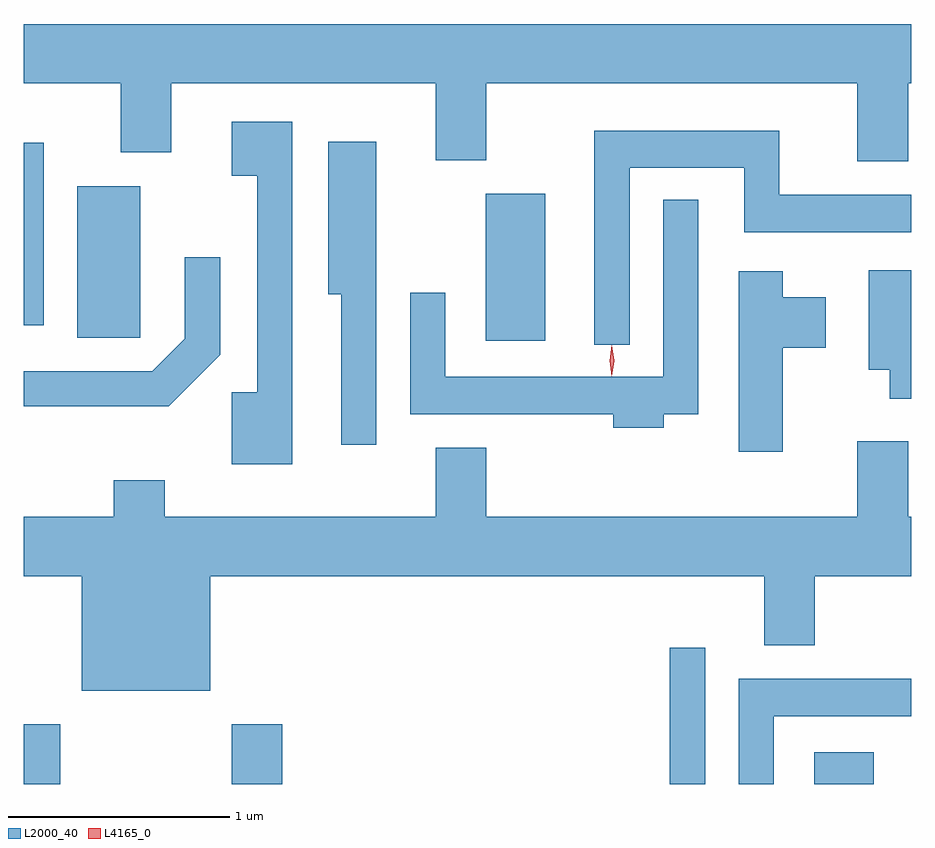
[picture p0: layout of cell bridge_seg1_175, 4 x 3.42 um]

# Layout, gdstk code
import gdstk
lib = gdstk.Library(unit=1e-6, precision=1e-09)
def R(c, l, rs):  # rectangles x0, y0, x1, y1
    for r in rs: c.add(gdstk.rectangle(r[:2], r[2:], *l))
def P(c, l, *ps):  # polygons
    for p in ps: c.add(gdstk.Polygon(p, *l))
L2000_40 = (2000, 40)
L4165_0 = (4165, 0)

bridge_seg1_175 = lib.new_cell('bridge_seg1_175')
R(bridge_seg1_175, L2000_40, [(795.934,960.8,796.099,961.069), (796.871,960.8,797.099,961.069), (798.846,960.8,799.004,961.413), (799.496,960.8,799.764,960.944), (798.016,962.796,798.284,963.459), (796.176,962.811,796.459,963.494), (795.934,962.866,796.024,963.689)])
P(bridge_seg1_175, L2000_40, [(799.919,963.956),(799.934,963.956),(799.934,964.224),(795.934,964.224),(795.934,963.956),(796.371,963.956),(796.371,963.646),(796.599,963.646),(796.599,963.956),(797.791,963.956),(797.791,963.611),(798.019,963.611),(798.019,963.956),(799.691,963.956),(799.691,963.606),(799.919,963.606)],
  [(797.144,963.784),(796.871,963.784),(796.871,963.541),(796.986,963.541),(796.986,962.564),(796.871,962.564),(796.871,962.241),(797.144,962.241)],
  [(798.664,963.576),(799.181,963.576),(799.181,963.286),(799.934,963.286),(799.934,963.454),(799.339,963.454),(799.339,963.744),(798.506,963.744),(798.506,962.778),(798.664,962.778)],
  [(797.524,963.694),(797.306,963.694),(797.306,963.006),(797.366,963.006),(797.366,962.328),(797.524,962.328)],
  [(798.819,962.466),(798.974,962.466),(798.974,963.433),(798.816,963.433),(798.816,962.634),(797.834,962.634),(797.834,963.013),(797.676,963.013),(797.676,962.466),(798.591,962.466),(798.591,962.406),(798.819,962.406)],
  [(796.819,962.734),(796.819,963.173),(796.661,963.173),(796.661,962.807),(796.514,962.659),(795.934,962.659),(795.934,962.501),(796.587,962.501)],
  [(799.934,963.114),(799.741,963.114),(799.741,962.666),(799.836,962.666),(799.836,962.536),(799.934,962.536)],
  [(799.354,962.766),(799.549,962.766),(799.549,962.994),(799.354,962.994),(799.354,963.109),(799.156,963.109),(799.156,962.296),(799.354,962.296)],
  [(796.774,961.736),(799.271,961.736),(799.271,961.426),(799.499,961.426),(799.499,961.736),(799.934,961.736),(799.934,962.004),(799.919,962.004),(799.919,962.344),(799.691,962.344),(799.691,962.004),(798.019,962.004),(798.019,962.314),(797.791,962.314),(797.791,962.004),(796.569,962.004),(796.569,962.169),(796.341,962.169),(796.341,962.004),(795.934,962.004),(795.934,961.736),(796.196,961.736),(796.196,961.221),(796.774,961.221)],
  [(799.314,961.106),(799.934,961.106),(799.934,961.274),(799.156,961.274),(799.156,960.8),(799.314,960.8)])
P(bridge_seg1_175, L4165_0, [(798.585,962.639),(798.584,962.64),(798.575,962.706),(798.584,962.772),(798.585,962.773),(798.585,962.772),(798.595,962.706),(798.585,962.64)],
  [(798.584,962.637),(798.575,962.707),(798.584,962.776),(798.585,962.776),(798.585,962.776),(798.595,962.706),(798.585,962.637),(798.585,962.637)])

lib.write_gds('bridge_seg1_175.gds')
